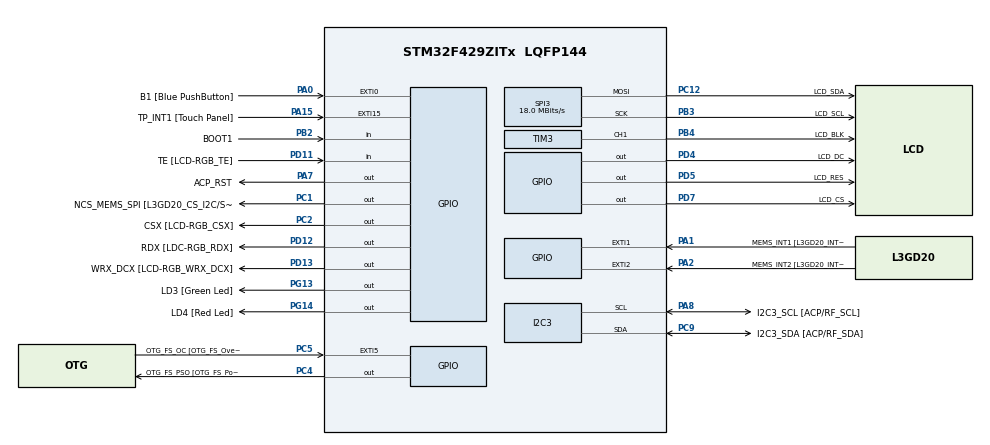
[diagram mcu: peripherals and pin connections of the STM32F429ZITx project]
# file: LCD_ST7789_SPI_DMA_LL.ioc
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Dma.Request0=SPI3_TX
Dma.SPI3_TX.0.Direction=DMA_MEMORY_TO_PERIPH
Dma.SPI3_TX.0.FIFOMode=DMA_FIFOMODE_DISABLE
Dma.SPI3_TX.0.Instance=DMA1_Stream5
Dma.SPI3_TX.0.MemDataAlignment=DMA_MDATAALIGN_HALFWORD
Dma.SPI3_TX.0.MemInc=DMA_MINC_ENABLE
Dma.SPI3_TX.0.Mode=DMA_CIRCULAR
Dma.SPI3_TX.0.PeriphDataAlignment=DMA_PDATAALIGN_HALFWORD
Dma.SPI3_TX.0.PeriphInc=DMA_PINC_DISABLE
Dma.SPI3_TX.0.Priority=DMA_PRIORITY_LOW
Mcu.Family=STM32F4
Mcu.Name=STM32F429ZITx
Mcu.Package=LQFP144
NVIC.DMA1_Stream5_IRQn=true\:0\:0\:false\:false\:true\:false\:true\:true
NVIC.PriorityGroup=NVIC_PRIORITYGROUP_4
NVIC.TIM6_DAC_IRQn=true\:15\:0\:false\:false\:true\:false\:true\:true
NVIC.TimeBase=TIM6_DAC_IRQn
NVIC.TimeBaseIP=TIM6
PA0/WKUP.GPIO_Label=B1 [Blue PushButton]
PA0/WKUP.GPIO_ModeDefaultEXTI=GPIO_MODE_EVT_RISING
PA0/WKUP.GPIO_PuPd=GPIO_NOPULL
PA0/WKUP.Signal=GPXTI0
PA1.GPIO_Label=MEMS_INT1 [L3GD20_INT1]
PA1.GPIO_ModeDefaultEXTI=GPIO_MODE_EVT_RISING
PA1.GPIO_PuPd=GPIO_NOPULL
PA1.Signal=GPXTI1
PA10.GPIO_Label=STLINK_TX [STM32F103CBT6_PA2]
PA10.Signal=USART1_RX
PA11.GPIO_Label=R4
PA11.GPIO_Mode=GPIO_MODE_AF_PP
PA11.GPIO_PuPd=GPIO_NOPULL
PA11.GPIO_Speed=GPIO_SPEED_FREQ_LOW
PA11.Signal=LTDC_R4
PA12.GPIO_Label=R5
PA12.GPIO_Mode=GPIO_MODE_AF_PP
PA12.GPIO_PuPd=GPIO_NOPULL
PA12.GPIO_Speed=GPIO_SPEED_FREQ_LOW
PA12.Signal=LTDC_R5
PA13.GPIO_Label=SWDIO
PA13.Mode=Serial_Wire
PA13.Signal=SYS_JTMS-SWDIO
PA14.GPIO_Label=SWCLK
PA14.Mode=Serial_Wire
PA14.Signal=SYS_JTCK-SWCLK
PA15.GPIO_Label=TP_INT1 [Touch Panel]
PA15.GPIO_ModeDefaultEXTI=GPIO_MODE_EVT_RISING
PA15.GPIO_PuPd=GPIO_NOPULL
PA15.Signal=GPXTI15
PA2.GPIO_Label=MEMS_INT2 [L3GD20_INT2]
PA2.GPIO_ModeDefaultEXTI=GPIO_MODE_EVT_RISING
PA2.GPIO_PuPd=GPIO_NOPULL
PA2.Signal=GPXTI2
PA3.GPIO_Label=B5
PA3.GPIO_Mode=GPIO_MODE_AF_PP
PA3.GPIO_PuPd=GPIO_NOPULL
PA3.GPIO_Speed=GPIO_SPEED_FREQ_LOW
PA3.Signal=LTDC_B5
PA4.GPIO_Label=VSYNC
PA4.GPIO_Mode=GPIO_MODE_AF_PP
PA4.GPIO_PuPd=GPIO_NOPULL
PA4.GPIO_Speed=GPIO_SPEED_FREQ_LOW
PA4.Signal=LTDC_VSYNC
PA6.GPIO_Label=G2
PA6.GPIO_Mode=GPIO_MODE_AF_PP
PA6.GPIO_PuPd=GPIO_NOPULL
PA6.GPIO_Speed=GPIO_SPEED_FREQ_LOW
PA6.Signal=LTDC_G2
PA7.GPIO_Label=ACP_RST
PA7.GPIO_Mode=GPIO_MODE_OUTPUT_PP
PA7.GPIO_PuPd=GPIO_NOPULL
PA7.GPIO_Speed=GPIO_SPEED_FREQ_LOW
PA7.Signal=GPIO_Output
PA8.GPIO_Label=I2C3_SCL [ACP/RF_SCL]
PA8.GPIO_Mode=GPIO_MODE_AF_OD
PA8.GPIO_Pu=GPIO_PULLUP
PA8.GPIO_PuPd=GPIO_NOPULL
PA8.GPIO_Speed=GPIO_SPEED_FREQ_LOW
PA8.Mode=I2C
PA8.Signal=I2C3_SCL
PA9.GPIO_Label=STLINK_RX [STM32F103CBT6_PA3]
PA9.Signal=USART1_TX
PB0.GPIO_Label=R3
PB0.GPIO_Mode=GPIO_MODE_AF_PP
PB0.GPIO_PuPd=GPIO_NOPULL
PB0.GPIO_Speed=GPIO_SPEED_FREQ_LOW
PB0.Signal=LTDC_R3
PB1.GPIO_Label=R6
PB1.GPIO_Mode=GPIO_MODE_AF_PP
PB1.GPIO_PuPd=GPIO_NOPULL
PB1.GPIO_Speed=GPIO_SPEED_FREQ_LOW
PB1.Signal=LTDC_R6
PB10.GPIO_Label=G4
PB10.GPIO_Mode=GPIO_MODE_AF_PP
PB10.GPIO_PuPd=GPIO_NOPULL
PB10.GPIO_Speed=GPIO_SPEED_FREQ_LOW
PB10.Signal=LTDC_G4
PB11.GPIO_Label=G5
PB11.GPIO_Mode=GPIO_MODE_AF_PP
PB11.GPIO_PuPd=GPIO_NOPULL
PB11.GPIO_Speed=GPIO_SPEED_FREQ_LOW
PB11.Signal=LTDC_G5
PB12.GPIO_Label=OTG_HS_ID
PB12.GPIO_Mode=GPIO_MODE_AF_PP
PB12.GPIO_PuPd=GPIO_NOPULL
PB12.GPIO_Speed=GPIO_SPEED_FREQ_LOW
PB12.Signal=USB_OTG_HS_ID
PB13.GPIO_Label=VBUS_HS
PB13.GPIO_Mode=GPIO_MODE_INPUT
PB13.GPIO_PuPd=GPIO_NOPULL
PB13.Signal=USB_OTG_HS_VBUS
PB14.GPIO_Label=OTG_HS_DM
PB14.GPIO_Mode=GPIO_MODE_AF_PP
PB14.GPIO_PuPd=GPIO_NOPULL
PB14.GPIO_Speed=GPIO_SPEED_FREQ_LOW
PB14.Signal=USB_OTG_HS_DM
PB15.GPIO_Label=OTG_HS_DP
PB15.GPIO_Mode=GPIO_MODE_AF_PP
PB15.GPIO_PuPd=GPIO_NOPULL
PB15.GPIO_Speed=GPIO_SPEED_FREQ_LOW
PB15.Signal=USB_OTG_HS_DP
PB2/BOOT1.GPIO_Label=BOOT1
PB2/BOOT1.GPIO_Mode=GPIO_MODE_INPUT
PB2/BOOT1.GPIO_PuPd=GPIO_NOPULL
PB2/BOOT1.Signal=GPIO_Input
PB3.GPIO_Label=LCD_SCL
PB3.Mode=TX_Only_Simplex_Unidirect_Master
PB3.Signal=SPI3_SCK
PB4.GPIO_Label=LCD_BLK
PB4.Signal=S_TIM3_CH1
PB5.GPIO_Label=SDCKE1
PB5.GPIO_Mode=GPIO_MODE_AF_PP
PB5.GPIO_PuPd=GPIO_NOPULL
PB5.GPIO_Speed=GPIO_SPEED_FREQ_VERY_HIGH
PB5.Signal=FMC_SDCKE1
PB6.GPIO_Label=SDNE1 [SDRAM_CS]
PB6.GPIO_Mode=GPIO_MODE_AF_PP
PB6.GPIO_PuPd=GPIO_NOPULL
PB6.GPIO_Speed=GPIO_SPEED_FREQ_VERY_HIGH
PB6.Signal=FMC_SDNE1
PB8.GPIO_Label=B6
PB8.GPIO_Mode=GPIO_MODE_AF_PP
PB8.GPIO_PuPd=GPIO_NOPULL
PB8.GPIO_Speed=GPIO_SPEED_FREQ_LOW
PB8.Signal=LTDC_B6
PB9.GPIO_Label=B7
PB9.GPIO_Mode=GPIO_MODE_AF_PP
PB9.GPIO_PuPd=GPIO_NOPULL
PB9.GPIO_Speed=GPIO_SPEED_FREQ_LOW
PB9.Signal=LTDC_B7
PC0.GPIO_Label=SDNWE
PC0.GPIO_Mode=GPIO_MODE_AF_PP
PC0.GPIO_PuPd=GPIO_NOPULL
PC0.GPIO_Speed=GPIO_SPEED_FREQ_VERY_HIGH
PC0.Signal=FMC_SDNWE
PC1.GPIO_Label=NCS_MEMS_SPI [L3GD20_CS_I2C/SPI]
PC1.GPIO_Mode=GPIO_MODE_OUTPUT_PP
PC1.GPIO_PuPd=GPIO_NOPULL
PC1.GPIO_Speed=GPIO_SPEED_FREQ_LOW
PC1.Signal=GPIO_Output
PC10.GPIO_Label=R2
PC10.GPIO_Mode=GPIO_MODE_AF_PP
PC10.GPIO_PuPd=GPIO_NOPULL
PC10.GPIO_Speed=GPIO_SPEED_FREQ_LOW
PC10.Signal=LTDC_R2
PC12.GPIO_Label=LCD_SDA
PC12.Mode=TX_Only_Simplex_Unidirect_Master
PC12.Signal=SPI3_MOSI
PC14/OSC32_IN.GPIO_Label=PC14-OSC32_IN
PC14/OSC32_IN.Signal=RCC_OSC32_IN
PC15/OSC32_OUT.GPIO_Label=PC15-OSC32_OUT
PC15/OSC32_OUT.Signal=RCC_OSC32_OUT
PC2.GPIO_Label=CSX [LCD-RGB_CSX]
PC2.GPIO_Mode=GPIO_MODE_OUTPUT_PP
PC2.GPIO_PuPd=GPIO_NOPULL
PC2.GPIO_Speed=GPIO_SPEED_FREQ_LOW
PC2.Signal=GPIO_Output
PC4.GPIO_Label=OTG_FS_PSO [OTG_FS_PowerSwitchOn]
PC4.GPIO_Mode=GPIO_MODE_OUTPUT_PP
PC4.GPIO_PuPd=GPIO_NOPULL
PC4.GPIO_Speed=GPIO_SPEED_FREQ_LOW
PC4.Signal=GPIO_Output
PC5.GPIO_Label=OTG_FS_OC [OTG_FS_OverCurrent]
PC5.GPIO_ModeDefaultEXTI=GPIO_MODE_EVT_RISING
PC5.Signal=GPXTI5
PC6.GPIO_Label=HSYNC
PC6.GPIO_Mode=GPIO_MODE_AF_PP
PC6.GPIO_PuPd=GPIO_NOPULL
PC6.GPIO_Speed=GPIO_SPEED_FREQ_LOW
PC6.Signal=LTDC_HSYNC
PC7.GPIO_Label=G6
PC7.GPIO_Mode=GPIO_MODE_AF_PP
PC7.GPIO_PuPd=GPIO_NOPULL
PC7.GPIO_Speed=GPIO_SPEED_FREQ_LOW
PC7.Signal=LTDC_G6
PC9.GPIO_Label=I2C3_SDA [ACP/RF_SDA]
PC9.GPIO_Mode=GPIO_MODE_AF_OD
PC9.GPIO_Pu=GPIO_PULLUP
PC9.GPIO_PuPd=GPIO_NOPULL
PC9.GPIO_Speed=GPIO_SPEED_FREQ_LOW
PC9.Mode=I2C
PC9.Signal=I2C3_SDA
PD0.GPIO_Label=D2
PD0.GPIO_Mode=GPIO_MODE_AF_PP
PD0.GPIO_PuPd=GPIO_NOPULL
PD0.GPIO_Speed=GPIO_SPEED_FREQ_VERY_HIGH
PD0.Signal=FMC_D2_DA2
PD1.GPIO_Label=D3
PD1.GPIO_Mode=GPIO_MODE_AF_PP
PD1.GPIO_PuPd=GPIO_NOPULL
PD1.GPIO_Speed=GPIO_SPEED_FREQ_VERY_HIGH
PD1.Signal=FMC_D3_DA3
PD10.GPIO_Label=D15
PD10.GPIO_Mode=GPIO_MODE_AF_PP
PD10.GPIO_PuPd=GPIO_NOPULL
PD10.GPIO_Speed=GPIO_SPEED_FREQ_VERY_HIGH
PD10.Signal=FMC_D15_DA15
PD11.GPIO_Label=TE [LCD-RGB_TE]
PD11.GPIO_Mode=GPIO_MODE_INPUT
PD11.GPIO_PuPd=GPIO_NOPULL
PD11.Signal=GPIO_Input
PD12.GPIO_Label=RDX [LDC-RGB_RDX]
PD12.GPIO_Mode=GPIO_MODE_OUTPUT_PP
PD12.GPIO_PuPd=GPIO_NOPULL
PD12.GPIO_Speed=GPIO_SPEED_FREQ_LOW
PD12.Signal=GPIO_Output
PD13.GPIO_Label=WRX_DCX [LCD-RGB_WRX_DCX]
PD13.GPIO_Mode=GPIO_MODE_OUTPUT_PP
PD13.GPIO_PuPd=GPIO_NOPULL
PD13.GPIO_Speed=GPIO_SPEED_FREQ_LOW
PD13.Signal=GPIO_Output
PD14.GPIO_Label=D0
PD14.GPIO_Mode=GPIO_MODE_AF_PP
PD14.GPIO_PuPd=GPIO_NOPULL
PD14.GPIO_Speed=GPIO_SPEED_FREQ_VERY_HIGH
PD14.Signal=FMC_D0_DA0
PD15.GPIO_Label=D1
PD15.GPIO_Mode=GPIO_MODE_AF_PP
PD15.GPIO_PuPd=GPIO_NOPULL
PD15.GPIO_Speed=GPIO_SPEED_FREQ_VERY_HIGH
PD15.Signal=FMC_D1_DA1
PD3.GPIO_Label=G7
PD3.GPIO_Mode=GPIO_MODE_AF_PP
PD3.GPIO_PuPd=GPIO_NOPULL
PD3.GPIO_Speed=GPIO_SPEED_FREQ_LOW
PD3.Signal=LTDC_G7
PD4.GPIO_Label=LCD_DC
PD4.Signal=GPIO_Output
PD5.GPIO_Label=LCD_RES
PD5.Signal=GPIO_Output
PD6.GPIO_Label=B2
PD6.GPIO_Mode=GPIO_MODE_AF_PP
PD6.GPIO_PuPd=GPIO_NOPULL
PD6.GPIO_Speed=GPIO_SPEED_FREQ_LOW
PD6.Signal=LTDC_B2
PD7.GPIO_Label=LCD_CS
PD7.Signal=GPIO_Output
PD8.GPIO_Label=D13
PD8.GPIO_Mode=GPIO_MODE_AF_PP
PD8.GPIO_PuPd=GPIO_NOPULL
PD8.GPIO_Speed=GPIO_SPEED_FREQ_VERY_HIGH
PD8.Signal=FMC_D13_DA13
PD9.GPIO_Label=D14
PD9.GPIO_Mode=GPIO_MODE_AF_PP
PD9.GPIO_PuPd=GPIO_NOPULL
PD9.GPIO_Speed=GPIO_SPEED_FREQ_VERY_HIGH
PD9.Signal=FMC_D14_DA14
PE0.GPIO_Label=NBL0 [SDRAM_LDQM]
PE0.GPIO_Mode=GPIO_MODE_AF_PP
PE0.GPIO_PuPd=GPIO_NOPULL
PE0.GPIO_Speed=GPIO_SPEED_FREQ_VERY_HIGH
PE0.Signal=FMC_NBL0
PE1.GPIO_Label=NBL1 [SDRAM_UDQM]
PE1.GPIO_Mode=GPIO_MODE_AF_PP
PE1.GPIO_PuPd=GPIO_NOPULL
PE1.GPIO_Speed=GPIO_SPEED_FREQ_VERY_HIGH
PE1.Signal=FMC_NBL1
PE10.GPIO_Label=D7
PE10.GPIO_Mode=GPIO_MODE_AF_PP
PE10.GPIO_PuPd=GPIO_NOPULL
PE10.GPIO_Speed=GPIO_SPEED_FREQ_VERY_HIGH
PE10.Signal=FMC_D7_DA7
PE11.GPIO_Label=D8
PE11.GPIO_Mode=GPIO_MODE_AF_PP
PE11.GPIO_PuPd=GPIO_NOPULL
PE11.GPIO_Speed=GPIO_SPEED_FREQ_VERY_HIGH
PE11.Signal=FMC_D8_DA8
PE12.GPIO_Label=D9
PE12.GPIO_Mode=GPIO_MODE_AF_PP
PE12.GPIO_PuPd=GPIO_NOPULL
PE12.GPIO_Speed=GPIO_SPEED_FREQ_VERY_HIGH
PE12.Signal=FMC_D9_DA9
PE13.GPIO_Label=D10
PE13.GPIO_Mode=GPIO_MODE_AF_PP
PE13.GPIO_PuPd=GPIO_NOPULL
PE13.GPIO_Speed=GPIO_SPEED_FREQ_VERY_HIGH
PE13.Signal=FMC_D10_DA10
PE14.GPIO_Label=D11
PE14.GPIO_Mode=GPIO_MODE_AF_PP
PE14.GPIO_PuPd=GPIO_NOPULL
PE14.GPIO_Speed=GPIO_SPEED_FREQ_VERY_HIGH
PE14.Signal=FMC_D11_DA11
PE15.GPIO_Label=D12
PE15.GPIO_Mode=GPIO_MODE_AF_PP
PE15.GPIO_PuPd=GPIO_NOPULL
PE15.GPIO_Speed=GPIO_SPEED_FREQ_VERY_HIGH
PE15.Signal=FMC_D12_DA12
PE7.GPIO_Label=D4
PE7.GPIO_Mode=GPIO_MODE_AF_PP
PE7.GPIO_PuPd=GPIO_NOPULL
PE7.GPIO_Speed=GPIO_SPEED_FREQ_VERY_HIGH
PE7.Signal=FMC_D4_DA4
PE8.GPIO_Label=D5
PE8.GPIO_Mode=GPIO_MODE_AF_PP
PE8.GPIO_PuPd=GPIO_NOPULL
PE8.GPIO_Speed=GPIO_SPEED_FREQ_VERY_HIGH
PE8.Signal=FMC_D5_DA5
PE9.GPIO_Label=D6
PE9.GPIO_Mode=GPIO_MODE_AF_PP
PE9.GPIO_PuPd=GPIO_NOPULL
PE9.GPIO_Speed=GPIO_SPEED_FREQ_VERY_HIGH
PE9.Signal=FMC_D6_DA6
PF0.GPIO_Label=A0
PF0.GPIO_Mode=GPIO_MODE_AF_PP
PF0.GPIO_PuPd=GPIO_NOPULL
PF0.GPIO_Speed=GPIO_SPEED_FREQ_VERY_HIGH
PF0.Signal=FMC_A0
PF1.GPIO_Label=A1
PF1.GPIO_Mode=GPIO_MODE_AF_PP
PF1.GPIO_PuPd=GPIO_NOPULL
PF1.GPIO_Speed=GPIO_SPEED_FREQ_VERY_HIGH
PF1.Signal=FMC_A1
PF10.GPIO_Label=ENABLE [LCD-RGB_ENABLE]
PF10.GPIO_Mode=GPIO_MODE_AF_PP
PF10.GPIO_PuPd=GPIO_NOPULL
PF10.GPIO_Speed=GPIO_SPEED_FREQ_LOW
PF10.Signal=LTDC_DE
PF11.GPIO_Label=SDNRAS
PF11.GPIO_Mode=GPIO_MODE_AF_PP
PF11.GPIO_PuPd=GPIO_NOPULL
PF11.GPIO_Speed=GPIO_SPEED_FREQ_VERY_HIGH
PF11.Signal=FMC_SDNRAS
PF12.GPIO_Label=A6
PF12.GPIO_Mode=GPIO_MODE_AF_PP
PF12.GPIO_PuPd=GPIO_NOPULL
PF12.GPIO_Speed=GPIO_SPEED_FREQ_VERY_HIGH
PF12.Signal=FMC_A6
PF13.GPIO_Label=A7
PF13.GPIO_Mode=GPIO_MODE_AF_PP
PF13.GPIO_PuPd=GPIO_NOPULL
PF13.GPIO_Speed=GPIO_SPEED_FREQ_VERY_HIGH
PF13.Signal=FMC_A7
PF14.GPIO_Label=A8
PF14.GPIO_Mode=GPIO_MODE_AF_PP
PF14.GPIO_PuPd=GPIO_NOPULL
PF14.GPIO_Speed=GPIO_SPEED_FREQ_VERY_HIGH
PF14.Signal=FMC_A8
PF15.GPIO_Label=A9
PF15.GPIO_Mode=GPIO_MODE_AF_PP
PF15.GPIO_PuPd=GPIO_NOPULL
PF15.GPIO_Speed=GPIO_SPEED_FREQ_VERY_HIGH
PF15.Signal=FMC_A9
PF2.GPIO_Label=A2
PF2.GPIO_Mode=GPIO_MODE_AF_PP
PF2.GPIO_PuPd=GPIO_NOPULL
PF2.GPIO_Speed=GPIO_SPEED_FREQ_VERY_HIGH
PF2.Signal=FMC_A2
PF3.GPIO_Label=A3
PF3.GPIO_Mode=GPIO_MODE_AF_PP
PF3.GPIO_PuPd=GPIO_NOPULL
PF3.GPIO_Speed=GPIO_SPEED_FREQ_VERY_HIGH
PF3.Signal=FMC_A3
PF4.GPIO_Label=A4
PF4.GPIO_Mode=GPIO_MODE_AF_PP
PF4.GPIO_PuPd=GPIO_NOPULL
PF4.GPIO_Speed=GPIO_SPEED_FREQ_VERY_HIGH
PF4.Signal=FMC_A4
PF5.GPIO_Label=A5
PF5.GPIO_Mode=GPIO_MODE_AF_PP
PF5.GPIO_PuPd=GPIO_NOPULL
PF5.GPIO_Speed=GPIO_SPEED_FREQ_VERY_HIGH
PF5.Signal=FMC_A5
PF7.GPIO_Label=SPI5_SCK [L3GD20_SCL/SPC]
PF7.GPIO_Mode=GPIO_MODE_AF_PP
PF7.GPIO_PuPd=GPIO_NOPULL
PF7.GPIO_Speed=GPIO_SPEED_FREQ_LOW
PF7.Signal=SPI5_SCK
PF8.GPIO_Label=SPI5_MISO [L3GD20_SDO]
PF8.GPIO_Mode=GPIO_MODE_AF_PP
PF8.GPIO_PuPd=GPIO_NOPULL
PF8.GPIO_Speed=GPIO_SPEED_FREQ_LOW
PF8.Signal=SPI5_MISO
PF9.GPIO_Label=SPI5_MOSI [L3GD20_SDA/SDI/SDO]
PF9.GPIO_Mode=GPIO_MODE_AF_PP
PF9.GPIO_PuPd=GPIO_NOPULL
PF9.GPIO_Speed=GPIO_SPEED_FREQ_LOW
PF9.Signal=SPI5_MOSI
PG0.GPIO_Label=A10
PG0.GPIO_Mode=GPIO_MODE_AF_PP
PG0.GPIO_PuPd=GPIO_NOPULL
PG0.GPIO_Speed=GPIO_SPEED_FREQ_VERY_HIGH
PG0.Signal=FMC_A10
PG1.GPIO_Label=A11
PG1.GPIO_Mode=GPIO_MODE_AF_PP
PG1.GPIO_PuPd=GPIO_NOPULL
PG1.GPIO_Speed=GPIO_SPEED_FREQ_VERY_HIGH
PG1.Signal=FMC_A11
PG10.GPIO_Label=G3
PG10.GPIO_Mode=GPIO_MODE_AF_PP
PG10.GPIO_PuPd=GPIO_NOPULL
PG10.GPIO_Speed=GPIO_SPEED_FREQ_LOW
PG10.Signal=LTDC_G3
PG11.GPIO_Label=B3
PG11.GPIO_Mode=GPIO_MODE_AF_PP
PG11.GPIO_PuPd=GPIO_NOPULL
PG11.GPIO_Speed=GPIO_SPEED_FREQ_LOW
PG11.Signal=LTDC_B3
PG12.GPIO_Label=B4
PG12.GPIO_Mode=GPIO_MODE_AF_PP
PG12.GPIO_PuPd=GPIO_NOPULL
PG12.GPIO_Speed=GPIO_SPEED_FREQ_LOW
PG12.Signal=LTDC_B4
PG13.GPIO_Label=LD3 [Green Led]
PG13.GPIO_Mode=GPIO_MODE_OUTPUT_PP
PG13.GPIO_PuPd=GPIO_NOPULL
PG13.GPIO_Speed=GPIO_SPEED_FREQ_LOW
PG13.Signal=GPIO_Output
PG14.GPIO_Label=LD4 [Red Led]
PG14.GPIO_Mode=GPIO_MODE_OUTPUT_PP
PG14.GPIO_PuPd=GPIO_NOPULL
PG14.GPIO_Speed=GPIO_SPEED_FREQ_LOW
PG14.Signal=GPIO_Output
PG15.GPIO_Label=SDNCAS
PG15.GPIO_Mode=GPIO_MODE_AF_PP
PG15.GPIO_PuPd=GPIO_NOPULL
PG15.GPIO_Speed=GPIO_SPEED_FREQ_VERY_HIGH
PG15.Signal=FMC_SDNCAS
PG4.GPIO_Label=BA0
PG4.GPIO_Mode=GPIO_MODE_AF_PP
PG4.GPIO_PuPd=GPIO_NOPULL
PG4.GPIO_Speed=GPIO_SPEED_FREQ_VERY_HIGH
PG4.Signal=FMC_A14_BA0
PG5.GPIO_Label=BA1
PG5.GPIO_Mode=GPIO_MODE_AF_PP
PG5.GPIO_PuPd=GPIO_NOPULL
PG5.GPIO_Speed=GPIO_SPEED_FREQ_VERY_HIGH
PG5.Signal=FMC_A15_BA1
PG6.GPIO_Label=R7
PG6.GPIO_Mode=GPIO_MODE_AF_PP
PG6.GPIO_PuPd=GPIO_NOPULL
PG6.GPIO_Speed=GPIO_SPEED_FREQ_LOW
PG6.Signal=LTDC_R7
PG7.GPIO_Label=DOTCLK [LCT-RGB_DOTCLK]
PG7.GPIO_Mode=GPIO_MODE_AF_PP
PG7.GPIO_PuPd=GPIO_NOPULL
PG7.GPIO_Speed=GPIO_SPEED_FREQ_LOW
PG7.Signal=LTDC_CLK
PG8.GPIO_Label=SDCLK
PG8.GPIO_Mode=GPIO_MODE_AF_PP
PG8.GPIO_PuPd=GPIO_NOPULL
PG8.GPIO_Speed=GPIO_SPEED_FREQ_VERY_HIGH
PG8.Signal=FMC_SDCLK
PH0/OSC_IN.GPIO_Label=PH0-OSC_IN
PH0/OSC_IN.Mode=HSE-External-Oscillator
PH0/OSC_IN.Signal=RCC_OSC_IN
PH1/OSC_OUT.GPIO_Label=PH1-OSC_OUT
PH1/OSC_OUT.Mode=HSE-External-Oscillator
PH1/OSC_OUT.Signal=RCC_OSC_OUT
ProjectManager.HeapSize=0x200
ProjectManager.StackSize=0x400
ProjectManager.TargetToolchain=STM32CubeIDE
RCC.48MHZClocksFreq_Value=48000000
RCC.AHBFreq_Value=72000000
RCC.APB1CLKDivider=RCC_HCLK_DIV2
RCC.APB1Freq_Value=36000000
RCC.APB1TimFreq_Value=72000000
RCC.APB2Freq_Value=72000000
RCC.APB2TimFreq_Value=72000000
RCC.CortexFreq_Value=72000000
RCC.EnbaleCSS=true
RCC.HCLKFreq_Value=72000000
RCC.HSE_VALUE=8000000
RCC.HSI_VALUE=16000000
RCC.LSE_VALUE=32768
RCC.PLLM=4
RCC.PLLN=72
RCC.PLLQ=3
RCC.PLLSAIN=50
RCC.PLLSourceVirtual=RCC_PLLSOURCE_HSE
RCC.SYSCLKFreq_VALUE=72000000
RCC.SYSCLKSource=RCC_SYSCLKSOURCE_PLLCLK
RCC.VCOOutputFreq_Value=144000000
SH.FMC_A0.0=FMC_A0
SH.FMC_A1.0=FMC_A1
SH.FMC_A10.0=FMC_A10
SH.FMC_A11.0=FMC_A11
SH.FMC_A14_BA0.0=FMC_BA0
SH.FMC_A15_BA1.0=FMC_BA1
SH.FMC_A2.0=FMC_A2
SH.FMC_A3.0=FMC_A3
SH.FMC_A4.0=FMC_A4
SH.FMC_A5.0=FMC_A5
SH.FMC_A6.0=FMC_A6
SH.FMC_A7.0=FMC_A7
SH.FMC_A8.0=FMC_A8
SH.FMC_A9.0=FMC_A9
SH.FMC_D0_DA0.0=FMC_D0
SH.FMC_D10_DA10.0=FMC_D10
SH.FMC_D11_DA11.0=FMC_D11
SH.FMC_D12_DA12.0=FMC_D12
SH.FMC_D13_DA13.0=FMC_D13
SH.FMC_D14_DA14.0=FMC_D14
SH.FMC_D15_DA15.0=FMC_D15
SH.FMC_D1_DA1.0=FMC_D1
SH.FMC_D2_DA2.0=FMC_D2
SH.FMC_D3_DA3.0=FMC_D3
SH.FMC_D4_DA4.0=FMC_D4
SH.FMC_D5_DA5.0=FMC_D5
SH.FMC_D6_DA6.0=FMC_D6
SH.FMC_D7_DA7.0=FMC_D7
SH.FMC_D8_DA8.0=FMC_D8
SH.FMC_D9_DA9.0=FMC_D9
SH.FMC_NBL0.0=FMC_NBL0
SH.FMC_NBL1.0=FMC_NBL1
SH.FMC_SDCLK.0=FMC_SDCLK
SH.FMC_SDNCAS.0=FMC_SDNCAS
SH.FMC_SDNRAS.0=FMC_SDNRAS
SH.FMC_SDNWE.0=FMC_SDNWE
SH.S_TIM3_CH1.0=TIM3_CH1,PWM Generation1 CH1
SPI3.BaudRatePrescaler=SPI_BAUDRATEPRESCALER_2
SPI3.CLKPolarity=SPI_POLARITY_HIGH
SPI3.CalculateBaudRate=18.0 MBits/s
SPI3.DataSize=SPI_DATASIZE_16BIT
SPI3.Direction=SPI_DIRECTION_2LINES
SPI3.Mode=SPI_MODE_MASTER
SPI3.VirtualType=VM_MASTER
TIM3.Channel-PWM\ Generation1\ CH1=TIM_CHANNEL_1
TIM3.Period=179
TIM3.Prescaler=999
TIM3.Pulse-PWM\ Generation1\ CH1=89
VP_SYS_VS_tim6.Mode=TIM6
VP_TIM1_VS_ClockSourceINT.Mode=Internal
board=STM32F429I-DISC1

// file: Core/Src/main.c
/* USER CODE BEGIN Header */
/**
  ******************************************************************************
  * @file           : main.c
  * @brief          : Тестовая программа для тестирования подключения к дисплею ST7789 240x240
  * по шине SPI без использования HAL
  * Автор
  ******************************************************************************
  * @attention
  *
  * Copyright (c) 2024 STMicroelectronics.
  * All rights reserved.
  *
  * This software is licensed under terms that can be found in the LICENSE file
  * in the root directory of this software component.
  * If no LICENSE file comes with this software, it is provided AS-IS.
  *
  ******************************************************************************
  */
/* USER CODE END Header */
#include "main.h"

/* USER CODE BEGIN Includes */
#include "display.h"
#include "st7789.h"
#include "ili9341.h"
#include <stdlib.h>
/* USER CODE END Includes */

I2C_HandleTypeDef hi2c3;

/* USER CODE BEGIN PV */
volatile uint32_t millis = 0;

/* USER CODE END PV */

void SystemClock_Config(void);
static void MX_GPIO_Init(void);
static void MX_DMA_Init(void);
static void MX_I2C3_Init(void);
static void MX_SPI3_Init(void);
static void MX_TIM1_Init(void);
static void MX_TIM3_Init(void);

int main(void)
{

  /* USER CODE BEGIN 1 */
	/* включаем кэширование инструкций */
	#if (INSTRUCTION_CACHE_ENABLE != 0U)
		((FLASH_TypeDef *) ((0x40000000UL + 0x00020000UL) + 0x3C00UL))->ACR |= (0x1UL << (9U));
	#endif
	/* включаем кэширование данных */
	#if (DATA_CACHE_ENABLE != 0U)
		((FLASH_TypeDef *) ((0x40000000UL + 0x00020000UL) + 0x3C00UL))->ACR |= (0x1UL << (10U));
	#endif
	/* включаем систему предварительной выборки инструкций*/
	#if (PREFETCH_ENABLE != 0U)
		((FLASH_TypeDef *) ((0x40000000UL + 0x00020000UL) + 0x3C00UL))->ACR |= (0x1UL << (8U));
	#endif

  /* USER CODE END 1 */

  /* MCU Configuration--------------------------------------------------------*/

  /* Reset of all peripherals, Initializes the Flash interface and the Systick. */
  HAL_Init();

  /* Configure the system clock */
  SystemClock_Config();

  /* USER CODE BEGIN SysInit */
  SysTick_Config(SystemCoreClock/1000);

  /* USER CODE END SysInit */

  /* Initialize all configured peripherals */
  MX_GPIO_Init();
  MX_DMA_Init();
  MX_I2C3_Init();
  MX_SPI3_Init();
  MX_TIM1_Init();
  MX_TIM3_Init();
  /* USER CODE BEGIN 2 */
  LCD_DMA_TypeDef        dma_tx  = { DMA1,
  		                             LL_DMA_STREAM_5
  };

  LCD_BackLight_data     bkl_data= { TIM3,                // Яркость дисплея
  		                             LL_TIM_CHANNEL_CH1,
  								     0,
  								     0,
  								     50
  };

  LCD_SPI_Connected_data spi_con = { SPI3,                // SPI соединение
  		                             dma_tx,              // DMA
  								     LCD_RES_GPIO_Port,
  								     LCD_RES_Pin,
  								     LCD_DC_GPIO_Port,
  								     LCD_DC_Pin,
  								     LCD_CS_GPIO_Port,
  								     LCD_CS_Pin
  };

  #ifndef LCD_DYNAMIC_MEM
    LCD_Handler lcd1;
  #endif
    /*  Для дисплея на контроллере ST7789   */
  LCD = LCD_DisplayAdd(       LCD,
  #ifndef LCD_DYNAMIC_MEM
    		  	  	  	  	    &lcd1,
  #endif
  							240,
  							240,
  							ST7789_CONTROLLER_WIDTH,
  							ST7789_CONTROLLER_HEIGHT,
  							0,
  							0,
  							PAGE_ORIENTATION_PORTRAIT,
  							ST7789_Init,
  							ST7789_SetWindow,
  							ST7789_SleepIn,
  							ST7789_SleepOut,
  							&spi_con,
  							LCD_DATA_16BIT_BUS,
  							bkl_data
  );
  /*  Для дисплея на контроллере ILI9341   */
/*
  LCD = LCD_DisplayAdd( LCD,
#ifndef LCD_DYNAMIC_MEM
		  	  	  	  	&lcd1,
#endif
		  	  	  	  	320,
		   				240,
						ILI9341_CONTROLLER_WIDTH,
						ILI9341_CONTROLLER_HEIGHT,
						//Задаем смещение по ширине и высоте для нестандартных или бракованных дисплеев:
						0,		//смещение по ширине дисплейной матрицы
						0,		//смещение по высоте дисплейной матрицы
						//PAGE_ORIENTATION_PORTRAIT_MIRROR,
						PAGE_ORIENTATION_LANDSCAPE,
						ILI9341_Init,
						ILI9341_SetWindow,
						ILI9341_SleepIn,
						ILI9341_SleepOut,
						&spi_con,
						LCD_DATA_16BIT_BUS,
						bkl_data );
*/

  LCD_Handler *lcd = LCD; //указатель на первый дисплей в списке
  LCD_Init(lcd);
  LCD_Fill(lcd, COLOR_RED);
  LCD_WriteString(lcd, 0, 0, "VIKTORIA", &Font_15x25, COLOR_YELLOW, COLOR_BLUE, LCD_SYMBOL_PRINT_FAST);
  LL_mDelay(2000);
  /* USER CODE END 2 */

  /* Infinite loop */
  /* USER CODE BEGIN WHILE */
  uint32_t tick;
  uint32_t frames;
  char buff[10];
  uint8_t r = 0, g = 0, b = 0;
  while (1)
  {
  	  frames = 0;
  	  tick = millis;
  	  while (millis - tick < 1000)
  	  {
  		  LCD_Fill(lcd, (r << 16) | (g << 8) | b);

  		  r++;
  		  g += 2;
  		  b += 4;

  		  /* задержка */
  		  /*
  		  for (uint32_t i = 0; i<100000; i++)
		  {
			  __NOP();
		  }
  		  */
  		  frames++;
  	  }
  	  utoa(frames, buff, 10);
  	  LCD_WriteString(lcd, 0, 0, buff, &Font_15x25, COLOR_YELLOW, COLOR_BLUE, LCD_SYMBOL_PRINT_FAST);
  	  LL_mDelay(1000);
  }
  while (1)
  {
    /* USER CODE END WHILE */

  }
}

void SystemClock_Config(void)
{
  LL_FLASH_SetLatency(LL_FLASH_LATENCY_2);
  while(LL_FLASH_GetLatency()!= LL_FLASH_LATENCY_2)
  {
  }
  LL_PWR_SetRegulVoltageScaling(LL_PWR_REGU_VOLTAGE_SCALE3);
  LL_PWR_DisableOverDriveMode();
  LL_RCC_HSE_Enable();

   /* Wait till HSE is ready */
  while(LL_RCC_HSE_IsReady() != 1)
  {

  }
  LL_RCC_HSE_EnableCSS();
  LL_RCC_PLL_ConfigDomain_SYS(LL_RCC_PLLSOURCE_HSE, LL_RCC_PLLM_DIV_4, 72, LL_RCC_PLLP_DIV_2);
  LL_RCC_PLL_Enable();

   /* Wait till PLL is ready */
  while(LL_RCC_PLL_IsReady() != 1)
  {

  }
  while (LL_PWR_IsActiveFlag_VOS() == 0)
  {
  }
  LL_RCC_SetAHBPrescaler(LL_RCC_SYSCLK_DIV_1);
  LL_RCC_SetAPB1Prescaler(LL_RCC_APB1_DIV_2);
  LL_RCC_SetAPB2Prescaler(LL_RCC_APB2_DIV_1);
  LL_RCC_SetSysClkSource(LL_RCC_SYS_CLKSOURCE_PLL);

   /* Wait till System clock is ready */
  while(LL_RCC_GetSysClkSource() != LL_RCC_SYS_CLKSOURCE_STATUS_PLL)
  {

  }
  LL_SetSystemCoreClock(72000000);

   /* Update the time base */
  if (HAL_InitTick (TICK_INT_PRIORITY) != HAL_OK)
  {
    Error_Handler();
  }
  LL_RCC_SetTIMPrescaler(LL_RCC_TIM_PRESCALER_TWICE);
}

static void MX_I2C3_Init(void)
{

  hi2c3.Instance = I2C3;
  hi2c3.Init.ClockSpeed = 100000;
  hi2c3.Init.DutyCycle = I2C_DUTYCYCLE_2;
  hi2c3.Init.OwnAddress1 = 0;
  hi2c3.Init.AddressingMode = I2C_ADDRESSINGMODE_7BIT;
  hi2c3.Init.DualAddressMode = I2C_DUALADDRESS_DISABLE;
  hi2c3.Init.OwnAddress2 = 0;
  hi2c3.Init.GeneralCallMode = I2C_GENERALCALL_DISABLE;
  hi2c3.Init.NoStretchMode = I2C_NOSTRETCH_DISABLE;
  if (HAL_I2C_Init(&hi2c3) != HAL_OK)
  {
    Error_Handler();
  }

  /** Configure Analogue filter
  */
  if (HAL_I2CEx_ConfigAnalogFilter(&hi2c3, I2C_ANALOGFILTER_ENABLE) != HAL_OK)
  {
    Error_Handler();
  }

  /** Configure Digital filter
  */
  if (HAL_I2CEx_ConfigDigitalFilter(&hi2c3, 0) != HAL_OK)
  {
    Error_Handler();
  }

}

static void MX_SPI3_Init(void)
{

  LL_SPI_InitTypeDef SPI_InitStruct = {0};

  LL_GPIO_InitTypeDef GPIO_InitStruct = {0};

  /* Peripheral clock enable */
  LL_APB1_GRP1_EnableClock(LL_APB1_GRP1_PERIPH_SPI3);

  LL_AHB1_GRP1_EnableClock(LL_AHB1_GRP1_PERIPH_GPIOC);
  LL_AHB1_GRP1_EnableClock(LL_AHB1_GRP1_PERIPH_GPIOB);
  /**SPI3 GPIO Configuration
  PC12   ------> SPI3_MOSI
  PB3   ------> SPI3_SCK
  */
  GPIO_InitStruct.Pin = LCD_SDA_Pin;
  GPIO_InitStruct.Mode = LL_GPIO_MODE_ALTERNATE;
  GPIO_InitStruct.Speed = LL_GPIO_SPEED_FREQ_VERY_HIGH;
  GPIO_InitStruct.OutputType = LL_GPIO_OUTPUT_PUSHPULL;
  GPIO_InitStruct.Pull = LL_GPIO_PULL_UP;
  GPIO_InitStruct.Alternate = LL_GPIO_AF_6;
  LL_GPIO_Init(LCD_SDA_GPIO_Port, &GPIO_InitStruct);

  GPIO_InitStruct.Pin = LCD_SCL_Pin;
  GPIO_InitStruct.Mode = LL_GPIO_MODE_ALTERNATE;
  GPIO_InitStruct.Speed = LL_GPIO_SPEED_FREQ_VERY_HIGH;
  GPIO_InitStruct.OutputType = LL_GPIO_OUTPUT_PUSHPULL;
  GPIO_InitStruct.Pull = LL_GPIO_PULL_UP;
  GPIO_InitStruct.Alternate = LL_GPIO_AF_6;
  LL_GPIO_Init(LCD_SCL_GPIO_Port, &GPIO_InitStruct);

  /* SPI3 DMA Init */

  /* SPI3_TX Init */
  LL_DMA_SetChannelSelection(DMA1, LL_DMA_STREAM_5, LL_DMA_CHANNEL_0);

  LL_DMA_SetDataTransferDirection(DMA1, LL_DMA_STREAM_5, LL_DMA_DIRECTION_MEMORY_TO_PERIPH);

  LL_DMA_SetStreamPriorityLevel(DMA1, LL_DMA_STREAM_5, LL_DMA_PRIORITY_LOW);

  LL_DMA_SetMode(DMA1, LL_DMA_STREAM_5, LL_DMA_MODE_CIRCULAR);

  LL_DMA_SetPeriphIncMode(DMA1, LL_DMA_STREAM_5, LL_DMA_PERIPH_NOINCREMENT);

  LL_DMA_SetMemoryIncMode(DMA1, LL_DMA_STREAM_5, LL_DMA_MEMORY_INCREMENT);

  LL_DMA_SetPeriphSize(DMA1, LL_DMA_STREAM_5, LL_DMA_PDATAALIGN_HALFWORD);

  LL_DMA_SetMemorySize(DMA1, LL_DMA_STREAM_5, LL_DMA_MDATAALIGN_HALFWORD);

  LL_DMA_DisableFifoMode(DMA1, LL_DMA_STREAM_5);

  /* SPI3 parameter configuration*/
  SPI_InitStruct.TransferDirection = LL_SPI_FULL_DUPLEX;
  SPI_InitStruct.Mode = LL_SPI_MODE_MASTER;
  SPI_InitStruct.DataWidth = LL_SPI_DATAWIDTH_16BIT;
  SPI_InitStruct.ClockPolarity = LL_SPI_POLARITY_HIGH;
  SPI_InitStruct.ClockPhase = LL_SPI_PHASE_1EDGE;
  SPI_InitStruct.NSS = LL_SPI_NSS_SOFT;
  SPI_InitStruct.BaudRate = LL_SPI_BAUDRATEPRESCALER_DIV2;
  SPI_InitStruct.BitOrder = LL_SPI_MSB_FIRST;
  SPI_InitStruct.CRCCalculation = LL_SPI_CRCCALCULATION_DISABLE;
  SPI_InitStruct.CRCPoly = 10;
  LL_SPI_Init(SPI3, &SPI_InitStruct);
  LL_SPI_SetStandard(SPI3, LL_SPI_PROTOCOL_MOTOROLA);

}

static void MX_TIM1_Init(void)
{

  LL_TIM_InitTypeDef TIM_InitStruct = {0};

  /* Peripheral clock enable */
  LL_APB2_GRP1_EnableClock(LL_APB2_GRP1_PERIPH_TIM1);

  TIM_InitStruct.Prescaler = 0;
  TIM_InitStruct.CounterMode = LL_TIM_COUNTERMODE_UP;
  TIM_InitStruct.Autoreload = 65535;
  TIM_InitStruct.ClockDivision = LL_TIM_CLOCKDIVISION_DIV1;
  TIM_InitStruct.RepetitionCounter = 0;
  LL_TIM_Init(TIM1, &TIM_InitStruct);
  LL_TIM_DisableARRPreload(TIM1);
  LL_TIM_SetClockSource(TIM1, LL_TIM_CLOCKSOURCE_INTERNAL);
  LL_TIM_SetTriggerOutput(TIM1, LL_TIM_TRGO_RESET);
  LL_TIM_DisableMasterSlaveMode(TIM1);

}

static void MX_TIM3_Init(void)
{

  LL_TIM_InitTypeDef TIM_InitStruct = {0};
  LL_TIM_OC_InitTypeDef TIM_OC_InitStruct = {0};

  LL_GPIO_InitTypeDef GPIO_InitStruct = {0};

  /* Peripheral clock enable */
  LL_APB1_GRP1_EnableClock(LL_APB1_GRP1_PERIPH_TIM3);

  TIM_InitStruct.Prescaler = 999;
  TIM_InitStruct.CounterMode = LL_TIM_COUNTERMODE_UP;
  TIM_InitStruct.Autoreload = 179;
  TIM_InitStruct.ClockDivision = LL_TIM_CLOCKDIVISION_DIV1;
  LL_TIM_Init(TIM3, &TIM_InitStruct);
  LL_TIM_DisableARRPreload(TIM3);
  LL_TIM_OC_EnablePreload(TIM3, LL_TIM_CHANNEL_CH1);
  TIM_OC_InitStruct.OCMode = LL_TIM_OCMODE_PWM1;
  TIM_OC_InitStruct.OCState = LL_TIM_OCSTATE_DISABLE;
  TIM_OC_InitStruct.OCNState = LL_TIM_OCSTATE_DISABLE;
  TIM_OC_InitStruct.CompareValue = 89;
  TIM_OC_InitStruct.OCPolarity = LL_TIM_OCPOLARITY_HIGH;
  LL_TIM_OC_Init(TIM3, LL_TIM_CHANNEL_CH1, &TIM_OC_InitStruct);
  LL_TIM_OC_DisableFast(TIM3, LL_TIM_CHANNEL_CH1);
  LL_TIM_SetTriggerOutput(TIM3, LL_TIM_TRGO_RESET);
  LL_TIM_DisableMasterSlaveMode(TIM3);
  LL_AHB1_GRP1_EnableClock(LL_AHB1_GRP1_PERIPH_GPIOB);
  /**TIM3 GPIO Configuration
  PB4   ------> TIM3_CH1
  */
  GPIO_InitStruct.Pin = LCD_BLK_Pin;
  GPIO_InitStruct.Mode = LL_GPIO_MODE_ALTERNATE;
  GPIO_InitStruct.Speed = LL_GPIO_SPEED_FREQ_LOW;
  GPIO_InitStruct.OutputType = LL_GPIO_OUTPUT_PUSHPULL;
  GPIO_InitStruct.Pull = LL_GPIO_PULL_NO;
  GPIO_InitStruct.Alternate = LL_GPIO_AF_2;
  LL_GPIO_Init(LCD_BLK_GPIO_Port, &GPIO_InitStruct);

}

static void MX_DMA_Init(void)
{

  /* Init with LL driver */
  /* DMA controller clock enable */
  LL_AHB1_GRP1_EnableClock(LL_AHB1_GRP1_PERIPH_DMA1);

  /* DMA interrupt init */
  /* DMA1_Stream5_IRQn interrupt configuration */
  NVIC_SetPriority(DMA1_Stream5_IRQn, NVIC_EncodePriority(NVIC_GetPriorityGrouping(),0, 0));
  NVIC_EnableIRQ(DMA1_Stream5_IRQn);

}

static void MX_GPIO_Init(void)
{
  LL_EXTI_InitTypeDef EXTI_InitStruct = {0};
  LL_GPIO_InitTypeDef GPIO_InitStruct = {0};

  /* GPIO Ports Clock Enable */
  LL_AHB1_GRP1_EnableClock(LL_AHB1_GRP1_PERIPH_GPIOC);
  LL_AHB1_GRP1_EnableClock(LL_AHB1_GRP1_PERIPH_GPIOF);
  LL_AHB1_GRP1_EnableClock(LL_AHB1_GRP1_PERIPH_GPIOH);
  LL_AHB1_GRP1_EnableClock(LL_AHB1_GRP1_PERIPH_GPIOA);
  LL_AHB1_GRP1_EnableClock(LL_AHB1_GRP1_PERIPH_GPIOB);
  LL_AHB1_GRP1_EnableClock(LL_AHB1_GRP1_PERIPH_GPIOG);
  LL_AHB1_GRP1_EnableClock(LL_AHB1_GRP1_PERIPH_GPIOE);
  LL_AHB1_GRP1_EnableClock(LL_AHB1_GRP1_PERIPH_GPIOD);

  /**/
  LL_GPIO_ResetOutputPin(GPIOC, NCS_MEMS_SPI_Pin|CSX_Pin|OTG_FS_PSO_Pin);

  /**/
  LL_GPIO_ResetOutputPin(ACP_RST_GPIO_Port, ACP_RST_Pin);

  /**/
  LL_GPIO_ResetOutputPin(GPIOD, RDX_Pin|WRX_DCX_Pin|LCD_DC_Pin|LCD_RES_Pin
                          |LCD_CS_Pin);

  /**/
  LL_GPIO_ResetOutputPin(GPIOG, LD3_Pin|LD4_Pin);

  /**/
  GPIO_InitStruct.Pin = A0_Pin|A1_Pin|A2_Pin|A3_Pin
                          |A4_Pin|A5_Pin|SDNRAS_Pin|A6_Pin
                          |A7_Pin|A8_Pin|A9_Pin;
  GPIO_InitStruct.Mode = LL_GPIO_MODE_ALTERNATE;
  GPIO_InitStruct.Speed = LL_GPIO_SPEED_FREQ_VERY_HIGH;
  GPIO_InitStruct.OutputType = LL_GPIO_OUTPUT_PUSHPULL;
  GPIO_InitStruct.Pull = LL_GPIO_PULL_NO;
  GPIO_InitStruct.Alternate = LL_GPIO_AF_12;
  LL_GPIO_Init(GPIOF, &GPIO_InitStruct);

  /**/
  GPIO_InitStruct.Pin = SPI5_SCK_Pin|SPI5_MISO_Pin|SPI5_MOSI_Pin;
  GPIO_InitStruct.Mode = LL_GPIO_MODE_ALTERNATE;
  GPIO_InitStruct.Speed = LL_GPIO_SPEED_FREQ_LOW;
  GPIO_InitStruct.OutputType = LL_GPIO_OUTPUT_PUSHPULL;
  GPIO_InitStruct.Pull = LL_GPIO_PULL_NO;
  GPIO_InitStruct.Alternate = LL_GPIO_AF_5;
  LL_GPIO_Init(GPIOF, &GPIO_InitStruct);

  /**/
  GPIO_InitStruct.Pin = ENABLE_Pin;
  GPIO_InitStruct.Mode = LL_GPIO_MODE_ALTERNATE;
  GPIO_InitStruct.Speed = LL_GPIO_SPEED_FREQ_LOW;
  GPIO_InitStruct.OutputType = LL_GPIO_OUTPUT_PUSHPULL;
  GPIO_InitStruct.Pull = LL_GPIO_PULL_NO;
  GPIO_InitStruct.Alternate = LL_GPIO_AF_14;
  LL_GPIO_Init(ENABLE_GPIO_Port, &GPIO_InitStruct);

  /**/
  GPIO_InitStruct.Pin = SDNWE_Pin;
  GPIO_InitStruct.Mode = LL_GPIO_MODE_ALTERNATE;
  GPIO_InitStruct.Speed = LL_GPIO_SPEED_FREQ_VERY_HIGH;
  GPIO_InitStruct.OutputType = LL_GPIO_OUTPUT_PUSHPULL;
  GPIO_InitStruct.Pull = LL_GPIO_PULL_NO;
  GPIO_InitStruct.Alternate = LL_GPIO_AF_12;
  LL_GPIO_Init(SDNWE_GPIO_Port, &GPIO_InitStruct);

  /**/
  GPIO_InitStruct.Pin = NCS_MEMS_SPI_Pin|CSX_Pin|OTG_FS_PSO_Pin;
  GPIO_InitStruct.Mode = LL_GPIO_MODE_OUTPUT;
  GPIO_InitStruct.Speed = LL_GPIO_SPEED_FREQ_LOW;
  GPIO_InitStruct.OutputType = LL_GPIO_OUTPUT_PUSHPULL;
  GPIO_InitStruct.Pull = LL_GPIO_PULL_NO;
  LL_GPIO_Init(GPIOC, &GPIO_InitStruct);

  /**/
  GPIO_InitStruct.Pin = B5_Pin|VSYNC_Pin|G2_Pin|R4_Pin
                          |R5_Pin;
  GPIO_InitStruct.Mode = LL_GPIO_MODE_ALTERNATE;
  GPIO_InitStruct.Speed = LL_GPIO_SPEED_FREQ_LOW;
  GPIO_InitStruct.OutputType = LL_GPIO_OUTPUT_PUSHPULL;
  GPIO_InitStruct.Pull = LL_GPIO_PULL_NO;
  GPIO_InitStruct.Alternate = LL_GPIO_AF_14;
  LL_GPIO_Init(GPIOA, &GPIO_InitStruct);

  /**/
  GPIO_InitStruct.Pin = ACP_RST_Pin;
  GPIO_InitStruct.Mode = LL_GPIO_MODE_OUTPUT;
  GPIO_InitStruct.Speed = LL_GPIO_SPEED_FREQ_LOW;
  GPIO_InitStruct.OutputType = LL_GPIO_OUTPUT_PUSHPULL;
  GPIO_InitStruct.Pull = LL_GPIO_PULL_NO;
  LL_GPIO_Init(ACP_RST_GPIO_Port, &GPIO_InitStruct);

  /**/
  GPIO_InitStruct.Pin = R3_Pin|R6_Pin;
  GPIO_InitStruct.Mode = LL_GPIO_MODE_ALTERNATE;
  GPIO_InitStruct.Speed = LL_GPIO_SPEED_FREQ_LOW;
  GPIO_InitStruct.OutputType = LL_GPIO_OUTPUT_PUSHPULL;
  GPIO_InitStruct.Pull = LL_GPIO_PULL_NO;
  GPIO_InitStruct.Alternate = LL_GPIO_AF_9;
  LL_GPIO_Init(GPIOB, &GPIO_InitStruct);

  /**/
  GPIO_InitStruct.Pin = BOOT1_Pin;
  GPIO_InitStruct.Mode = LL_GPIO_MODE_INPUT;
  GPIO_InitStruct.Pull = LL_GPIO_PULL_NO;
  LL_GPIO_Init(BOOT1_GPIO_Port, &GPIO_InitStruct);

  /**/
  GPIO_InitStruct.Pin = A10_Pin|A11_Pin|BA0_Pin|BA1_Pin
                          |SDCLK_Pin|SDNCAS_Pin;
  GPIO_InitStruct.Mode = LL_GPIO_MODE_ALTERNATE;
  GPIO_InitStruct.Speed = LL_GPIO_SPEED_FREQ_VERY_HIGH;
  GPIO_InitStruct.OutputType = LL_GPIO_OUTPUT_PUSHPULL;
  GPIO_InitStruct.Pull = LL_GPIO_PULL_NO;
  GPIO_InitStruct.Alternate = LL_GPIO_AF_12;
  LL_GPIO_Init(GPIOG, &GPIO_InitStruct);

  /**/
  GPIO_InitStruct.Pin = D4_Pin|D5_Pin|D6_Pin|D7_Pin
                          |D8_Pin|D9_Pin|D10_Pin|D11_Pin
                          |D12_Pin|NBL0_Pin|NBL1_Pin;
  GPIO_InitStruct.Mode = LL_GPIO_MODE_ALTERNATE;
  GPIO_InitStruct.Speed = LL_GPIO_SPEED_FREQ_VERY_HIGH;
  GPIO_InitStruct.OutputType = LL_GPIO_OUTPUT_PUSHPULL;
  GPIO_InitStruct.Pull = LL_GPIO_PULL_NO;
  GPIO_InitStruct.Alternate = LL_GPIO_AF_12;
  LL_GPIO_Init(GPIOE, &GPIO_InitStruct);

  /**/
  GPIO_InitStruct.Pin = G4_Pin|G5_Pin|B6_Pin|B7_Pin;
  GPIO_InitStruct.Mode = LL_GPIO_MODE_ALTERNATE;
  GPIO_InitStruct.Speed = LL_GPIO_SPEED_FREQ_LOW;
  GPIO_InitStruct.OutputType = LL_GPIO_OUTPUT_PUSHPULL;
  GPIO_InitStruct.Pull = LL_GPIO_PULL_NO;
  GPIO_InitStruct.Alternate = LL_GPIO_AF_14;
  LL_GPIO_Init(GPIOB, &GPIO_InitStruct);

  /**/
  GPIO_InitStruct.Pin = OTG_HS_ID_Pin|OTG_HS_DM_Pin|OTG_HS_DP_Pin;
  GPIO_InitStruct.Mode = LL_GPIO_MODE_ALTERNATE;
  GPIO_InitStruct.Speed = LL_GPIO_SPEED_FREQ_LOW;
  GPIO_InitStruct.OutputType = LL_GPIO_OUTPUT_PUSHPULL;
  GPIO_InitStruct.Pull = LL_GPIO_PULL_NO;
  GPIO_InitStruct.Alternate = LL_GPIO_AF_12;
  LL_GPIO_Init(GPIOB, &GPIO_InitStruct);

  /**/
  GPIO_InitStruct.Pin = VBUS_HS_Pin;
  GPIO_InitStruct.Mode = LL_GPIO_MODE_INPUT;
  GPIO_InitStruct.Pull = LL_GPIO_PULL_NO;
  LL_GPIO_Init(VBUS_HS_GPIO_Port, &GPIO_InitStruct);

  /**/
  GPIO_InitStruct.Pin = D13_Pin|D14_Pin|D15_Pin|D0_Pin
                          |D1_Pin|D2_Pin|D3_Pin;
  GPIO_InitStruct.Mode = LL_GPIO_MODE_ALTERNATE;
  GPIO_InitStruct.Speed = LL_GPIO_SPEED_FREQ_VERY_HIGH;
  GPIO_InitStruct.OutputType = LL_GPIO_OUTPUT_PUSHPULL;
  GPIO_InitStruct.Pull = LL_GPIO_PULL_NO;
  GPIO_InitStruct.Alternate = LL_GPIO_AF_12;
  LL_GPIO_Init(GPIOD, &GPIO_InitStruct);

  /**/
  GPIO_InitStruct.Pin = TE_Pin;
  GPIO_InitStruct.Mode = LL_GPIO_MODE_INPUT;
  GPIO_InitStruct.Pull = LL_GPIO_PULL_NO;
  LL_GPIO_Init(TE_GPIO_Port, &GPIO_InitStruct);

  /**/
  GPIO_InitStruct.Pin = RDX_Pin|WRX_DCX_Pin|LCD_DC_Pin|LCD_RES_Pin
                          |LCD_CS_Pin;
  GPIO_InitStruct.Mode = LL_GPIO_MODE_OUTPUT;
  GPIO_InitStruct.Speed = LL_GPIO_SPEED_FREQ_LOW;
  GPIO_InitStruct.OutputType = LL_GPIO_OUTPUT_PUSHPULL;
  GPIO_InitStruct.Pull = LL_GPIO_PULL_NO;
  LL_GPIO_Init(GPIOD, &GPIO_InitStruct);

  /**/
  GPIO_InitStruct.Pin = R7_Pin|DOTCLK_Pin|B3_Pin;
  GPIO_InitStruct.Mode = LL_GPIO_MODE_ALTERNATE;
  GPIO_InitStruct.Speed = LL_GPIO_SPEED_FREQ_LOW;
  GPIO_InitStruct.OutputType = LL_GPIO_OUTPUT_PUSHPULL;
  GPIO_InitStruct.Pull = LL_GPIO_PULL_NO;
  GPIO_InitStruct.Alternate = LL_GPIO_AF_14;
  LL_GPIO_Init(GPIOG, &GPIO_InitStruct);

  /**/
  GPIO_InitStruct.Pin = HSYNC_Pin|G6_Pin|R2_Pin;
  GPIO_InitStruct.Mode = LL_GPIO_MODE_ALTERNATE;
  GPIO_InitStruct.Speed = LL_GPIO_SPEED_FREQ_LOW;
  GPIO_InitStruct.OutputType = LL_GPIO_OUTPUT_PUSHPULL;
  GPIO_InitStruct.Pull = LL_GPIO_PULL_NO;
  GPIO_InitStruct.Alternate = LL_GPIO_AF_14;
  LL_GPIO_Init(GPIOC, &GPIO_InitStruct);

  /**/
  GPIO_InitStruct.Pin = STLINK_RX_Pin|STLINK_TX_Pin;
  GPIO_InitStruct.Mode = LL_GPIO_MODE_ALTERNATE;
  GPIO_InitStruct.Speed = LL_GPIO_SPEED_FREQ_VERY_HIGH;
  GPIO_InitStruct.OutputType = LL_GPIO_OUTPUT_PUSHPULL;
  GPIO_InitStruct.Pull = LL_GPIO_PULL_NO;
  GPIO_InitStruct.Alternate = LL_GPIO_AF_7;
  LL_GPIO_Init(GPIOA, &GPIO_InitStruct);

  /**/
  GPIO_InitStruct.Pin = G7_Pin|B2_Pin;
  GPIO_InitStruct.Mode = LL_GPIO_MODE_ALTERNATE;
  GPIO_InitStruct.Speed = LL_GPIO_SPEED_FREQ_LOW;
  GPIO_InitStruct.OutputType = LL_GPIO_OUTPUT_PUSHPULL;
  GPIO_InitStruct.Pull = LL_GPIO_PULL_NO;
  GPIO_InitStruct.Alternate = LL_GPIO_AF_14;
  LL_GPIO_Init(GPIOD, &GPIO_InitStruct);

  /**/
  GPIO_InitStruct.Pin = G3_Pin|B4_Pin;
  GPIO_InitStruct.Mode = LL_GPIO_MODE_ALTERNATE;
  GPIO_InitStruct.Speed = LL_GPIO_SPEED_FREQ_LOW;
  GPIO_InitStruct.OutputType = LL_GPIO_OUTPUT_PUSHPULL;
  GPIO_InitStruct.Pull = LL_GPIO_PULL_NO;
  GPIO_InitStruct.Alternate = LL_GPIO_AF_9;
  LL_GPIO_Init(GPIOG, &GPIO_InitStruct);

  /**/
  GPIO_InitStruct.Pin = LD3_Pin|LD4_Pin;
  GPIO_InitStruct.Mode = LL_GPIO_MODE_OUTPUT;
  GPIO_InitStruct.Speed = LL_GPIO_SPEED_FREQ_LOW;
  GPIO_InitStruct.OutputType = LL_GPIO_OUTPUT_PUSHPULL;
  GPIO_InitStruct.Pull = LL_GPIO_PULL_NO;
  LL_GPIO_Init(GPIOG, &GPIO_InitStruct);

  /**/
  GPIO_InitStruct.Pin = SDCKE1_Pin|SDNE1_Pin;
  GPIO_InitStruct.Mode = LL_GPIO_MODE_ALTERNATE;
  GPIO_InitStruct.Speed = LL_GPIO_SPEED_FREQ_VERY_HIGH;
  GPIO_InitStruct.OutputType = LL_GPIO_OUTPUT_PUSHPULL;
  GPIO_InitStruct.Pull = LL_GPIO_PULL_NO;
  GPIO_InitStruct.Alternate = LL_GPIO_AF_12;
  LL_GPIO_Init(GPIOB, &GPIO_InitStruct);

  /**/
  LL_SYSCFG_SetEXTISource(LL_SYSCFG_EXTI_PORTA, LL_SYSCFG_EXTI_LINE0);

  /**/
  LL_SYSCFG_SetEXTISource(LL_SYSCFG_EXTI_PORTA, LL_SYSCFG_EXTI_LINE1);

  /**/
  LL_SYSCFG_SetEXTISource(LL_SYSCFG_EXTI_PORTA, LL_SYSCFG_EXTI_LINE2);

  /**/
  LL_SYSCFG_SetEXTISource(LL_SYSCFG_EXTI_PORTC, LL_SYSCFG_EXTI_LINE5);

  /**/
  LL_SYSCFG_SetEXTISource(LL_SYSCFG_EXTI_PORTA, LL_SYSCFG_EXTI_LINE15);

  /**/
  EXTI_InitStruct.Line_0_31 = LL_EXTI_LINE_0;
  EXTI_InitStruct.LineCommand = ENABLE;
  EXTI_InitStruct.Mode = LL_EXTI_MODE_EVENT;
  EXTI_InitStruct.Trigger = LL_EXTI_TRIGGER_RISING;
  LL_EXTI_Init(&EXTI_InitStruct);

  /**/
  EXTI_InitStruct.Line_0_31 = LL_EXTI_LINE_1;
  EXTI_InitStruct.LineCommand = ENABLE;
  EXTI_InitStruct.Mode = LL_EXTI_MODE_EVENT;
  EXTI_InitStruct.Trigger = LL_EXTI_TRIGGER_RISING;
  LL_EXTI_Init(&EXTI_InitStruct);

  /**/
  EXTI_InitStruct.Line_0_31 = LL_EXTI_LINE_2;
  EXTI_InitStruct.LineCommand = ENABLE;
  EXTI_InitStruct.Mode = LL_EXTI_MODE_EVENT;
  EXTI_InitStruct.Trigger = LL_EXTI_TRIGGER_RISING;
  LL_EXTI_Init(&EXTI_InitStruct);

  /**/
  EXTI_InitStruct.Line_0_31 = LL_EXTI_LINE_5;
  EXTI_InitStruct.LineCommand = ENABLE;
  EXTI_InitStruct.Mode = LL_EXTI_MODE_EVENT;
  EXTI_InitStruct.Trigger = LL_EXTI_TRIGGER_RISING;
  LL_EXTI_Init(&EXTI_InitStruct);

  /**/
  EXTI_InitStruct.Line_0_31 = LL_EXTI_LINE_15;
  EXTI_InitStruct.LineCommand = ENABLE;
  EXTI_InitStruct.Mode = LL_EXTI_MODE_EVENT;
  EXTI_InitStruct.Trigger = LL_EXTI_TRIGGER_RISING;
  LL_EXTI_Init(&EXTI_InitStruct);

  /**/
  LL_GPIO_SetPinPull(B1_GPIO_Port, B1_Pin, LL_GPIO_PULL_NO);

  /**/
  LL_GPIO_SetPinPull(MEMS_INT1_GPIO_Port, MEMS_INT1_Pin, LL_GPIO_PULL_NO);

  /**/
  LL_GPIO_SetPinPull(MEMS_INT2_GPIO_Port, MEMS_INT2_Pin, LL_GPIO_PULL_NO);

  /**/
  LL_GPIO_SetPinPull(OTG_FS_OC_GPIO_Port, OTG_FS_OC_Pin, LL_GPIO_PULL_NO);

  /**/
  LL_GPIO_SetPinPull(TP_INT1_GPIO_Port, TP_INT1_Pin, LL_GPIO_PULL_NO);

  /**/
  LL_GPIO_SetPinMode(B1_GPIO_Port, B1_Pin, LL_GPIO_MODE_INPUT);

  /**/
  LL_GPIO_SetPinMode(MEMS_INT1_GPIO_Port, MEMS_INT1_Pin, LL_GPIO_MODE_INPUT);

  /**/
  LL_GPIO_SetPinMode(MEMS_INT2_GPIO_Port, MEMS_INT2_Pin, LL_GPIO_MODE_INPUT);

  /**/
  LL_GPIO_SetPinMode(OTG_FS_OC_GPIO_Port, OTG_FS_OC_Pin, LL_GPIO_MODE_INPUT);

  /**/
  LL_GPIO_SetPinMode(TP_INT1_GPIO_Port, TP_INT1_Pin, LL_GPIO_MODE_INPUT);

}

void HAL_TIM_PeriodElapsedCallback(TIM_HandleTypeDef *htim)
{
  if (htim->Instance == TIM6) {
    HAL_IncTick();
  }
}

void Error_Handler(void)
{
  __disable_irq();
  while (1)
  {
  }
}
